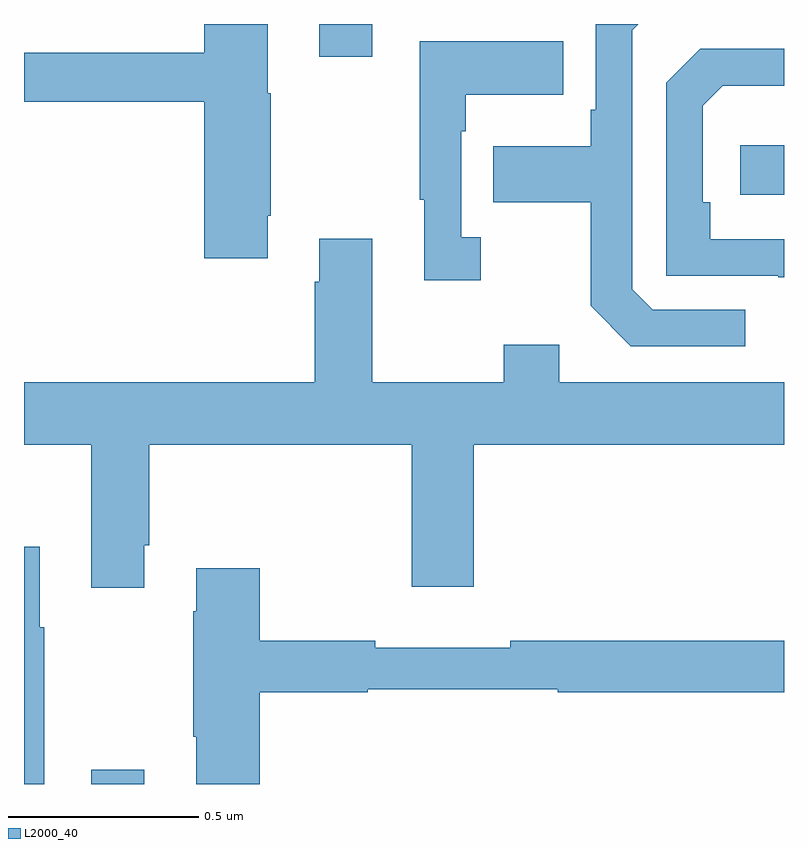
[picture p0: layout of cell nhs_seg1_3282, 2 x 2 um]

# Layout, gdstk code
import gdstk
lib = gdstk.Library(unit=1e-6, precision=1e-09)
def R(c, l, rs):  # rectangles x0, y0, x1, y1
    for r in rs: c.add(gdstk.rectangle(r[:2], r[2:], *l))
def P(c, l, *ps):  # polygons
    for p in ps: c.add(gdstk.Polygon(p, *l))
L2000_40 = (2000, 40)

nhs_seg1_3282 = lib.new_cell('nhs_seg1_3282')
R(nhs_seg1_3282, L2000_40, [(152.177,524.199,152.317,524.236), (153.885,525.75,154,525.88), (152.777,526.113,152.917,526.199)])
P(nhs_seg1_3282, L2000_40, [(153.898,525.447),(153.654,525.447),(153.6,525.501),(153.6,526.182),(153.617,526.199),(153.504,526.199),(153.504,525.973),(153.492,525.973),(153.492,525.877),(153.235,525.877),(153.235,525.73),(153.492,525.73),(153.492,525.457),(153.597,525.351),(153.898,525.351)],
  [(152.641,525.694),(152.649,525.694),(152.649,526.017),(152.641,526.017),(152.641,526.199),(152.474,526.199),(152.474,526.123),(152,526.123),(152,525.994),(152.474,525.994),(152.474,525.582),(152.641,525.582)],
  [(153.202,525.638),(153.15,525.638),(153.15,525.917),(153.163,525.917),(153.163,526.013),(153.419,526.013),(153.419,526.153),(153.042,526.153),(153.042,525.737),(153.053,525.737),(153.053,525.525),(153.202,525.525)],
  [(154,525.633),(153.806,525.633),(153.806,525.73),(153.786,525.73),(153.786,525.984),(153.839,526.037),(154,526.037),(154,526.134),(153.78,526.134),(153.69,526.044),(153.69,525.537),(153.985,525.537),(153.985,525.532),(154,525.532)],
  [(153.02,524.718),(153.184,524.718),(153.184,525.092),(154,525.092),(154,525.256),(153.409,525.256),(153.409,525.355),(153.262,525.355),(153.262,525.256),(152.917,525.256),(152.917,525.634),(152.777,525.634),(152.777,525.521),(152.765,525.521),(152.765,525.256),(152,525.256),(152,525.092),(152.177,525.092),(152.177,524.715),(152.317,524.715),(152.317,524.827),(152.33,524.827),(152.33,525.092),(153.02,525.092)],
  [(152.053,524.611),(152.041,524.611),(152.041,524.824),(152,524.824),(152,524.199),(152.053,524.199)],
  [(152.621,524.44),(152.904,524.44),(152.904,524.448),(153.404,524.448),(153.404,524.44),(154,524.44),(154,524.576),(153.28,524.576),(153.28,524.557),(152.924,524.557),(152.924,524.576),(152.621,524.576),(152.621,524.767),(152.453,524.767),(152.453,524.654),(152.446,524.654),(152.446,524.323),(152.453,524.323),(152.453,524.199),(152.621,524.199)])

lib.write_gds('nhs_seg1_3282.gds')
